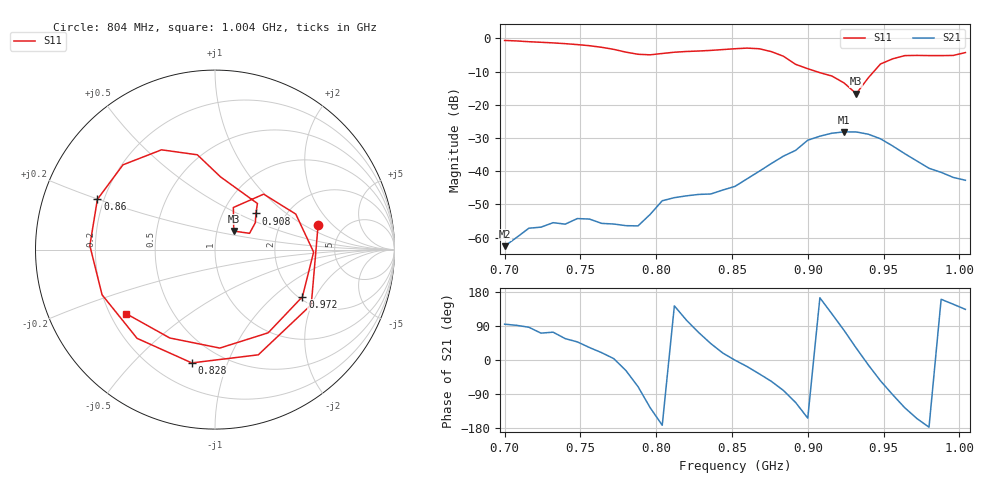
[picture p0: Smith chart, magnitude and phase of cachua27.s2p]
# Hz S RI R 50
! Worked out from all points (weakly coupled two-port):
!   39 points, 700 MHz to 1.004 GHz, reference 50 ohm
!   highest |S21| = -28.15 dB at 924 MHz (marker M1); lowest = -62.5 dB at 700 MHz (marker M2)
!   lowest |S11| = -16.7 dB at 932 MHz (marker M3), VSWR 1.34, Z = 60.2 + j12.7 ohm
!   |S11| at or under -10 dB: 905.8 MHz to 943.6 MHz (37.81 MHz wide, 4.09 % of centre)
!   S12 and S22 are empty: the file has one direction only
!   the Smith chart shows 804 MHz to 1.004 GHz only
!   S11 on the Smith chart (normalised r, x): 804 MHz: 3.24, +1.40; 828 MHz: 0.35, -0.75; 860 MHz: 0.17, +0.20; 908 MHz: 1.42, +0.63; 972 MHz: 2.09, -1.58; 1.004 GHz: 0.27, -0.30
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7e8  0.7643 0.5281  -5.84e-05 0.000744  0 0  0 0
7.24e8  0.8314 -0.2634  0.000472 0.00136  0 0  0 0
7.4e8  0.4435 -0.7029  0.000887 0.00133  0 0  0 0
7.56e8  -0.1991 -0.7485  0.0016 0.00104  0 0  0 0
7.72e8  -0.6566 -0.1863  0.0016 0.000103  0 0  0 0
7.8e8  -0.5741 0.2347  0.00135 -0.000706  0 0  0 0
7.88e8  -0.2202 0.532  0.000512 -0.00142  0 0  0 0
7.96e8  0.2629 0.4998  -0.00131 -0.00182  0 0  0 0
8.04e8  0.5748 0.1398  -0.00357 -0.000494  0 0  0 0
8.2e8  0.2412 -0.5863  -0.0011 0.00413  0 0  0 0
8.28e8  -0.1294 -0.6313  0.00134 0.00428  0 0  0 0
8.52e8  -0.6973 0.0223  0.00592 -5.3e-05  0 0  0 0
8.6e8  -0.6552 0.28  0.00736 -0.0023  0 0  0 0
8.76e8  -0.2978 0.556  0.00725 -0.0109  0 0  0 0
9.08e8  0.2279 0.2017  -0.0324 0.00919  0 0  0 0
9.24e8  0.1925 0.0907  0.00819 0.0383  0 0  0 0
9.32e8  0.1046 0.1031  0.0333 0.0203  0 0  0 0
9.48e8  0.2712 0.309  0.0177 -0.0252  0 0  0 0
9.56e8  0.45 0.1979  -0.000601 -0.024  0 0  0 0
9.72e8  0.4871 -0.2625  -0.0129 -0.00616  0 0  0 0
9.88e8  0.0268 -0.5487  -0.00906 0.00326  0 0  0 0
1.004e9  -0.4957 -0.3565  -0.00505 0.0053  0 0  0 0
